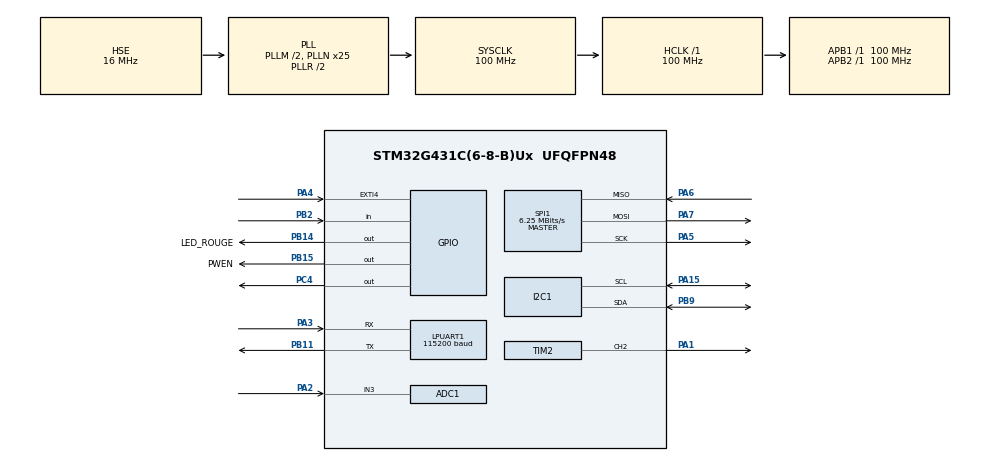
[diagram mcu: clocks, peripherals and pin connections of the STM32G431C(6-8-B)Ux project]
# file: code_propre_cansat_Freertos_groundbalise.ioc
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ADC1.Channel-0\#ChannelRegularConversion=ADC_CHANNEL_VREFINT
ADC1.Channel-1\#ChannelRegularConversion=ADC_CHANNEL_TEMPSENSOR_ADC1
ADC1.Channel-2\#ChannelRegularConversion=ADC_CHANNEL_3
ADC1.ContinuousConvMode=ENABLE
ADC1.EOCSelection=ADC_EOC_SEQ_CONV
ADC1.NbrOfConversion=3
ADC1.NbrOfConversionFlag=1
ADC1.OffsetNumber-0\#ChannelRegularConversion=ADC_OFFSET_NONE
ADC1.OffsetNumber-1\#ChannelRegularConversion=ADC_OFFSET_NONE
ADC1.OffsetNumber-2\#ChannelRegularConversion=ADC_OFFSET_NONE
ADC1.Rank-0\#ChannelRegularConversion=1
ADC1.Rank-1\#ChannelRegularConversion=2
ADC1.Rank-2\#ChannelRegularConversion=3
ADC1.SamplingTime-0\#ChannelRegularConversion=ADC_SAMPLETIME_640CYCLES_5
ADC1.SamplingTime-1\#ChannelRegularConversion=ADC_SAMPLETIME_640CYCLES_5
ADC1.SamplingTime-2\#ChannelRegularConversion=ADC_SAMPLETIME_640CYCLES_5
ADC1.master=1
Dma.ADC1.0.Direction=DMA_PERIPH_TO_MEMORY
Dma.ADC1.0.EventEnable=DISABLE
Dma.ADC1.0.Instance=DMA1_Channel2
Dma.ADC1.0.MemDataAlignment=DMA_MDATAALIGN_HALFWORD
Dma.ADC1.0.MemInc=DMA_MINC_ENABLE
Dma.ADC1.0.Mode=DMA_CIRCULAR
Dma.ADC1.0.PeriphDataAlignment=DMA_PDATAALIGN_HALFWORD
Dma.ADC1.0.PeriphInc=DMA_PINC_DISABLE
Dma.ADC1.0.Polarity=HAL_DMAMUX_REQ_GEN_RISING
Dma.ADC1.0.Priority=DMA_PRIORITY_LOW
Dma.ADC1.0.RequestNumber=1
Dma.ADC1.0.SignalID=NONE
Dma.ADC1.0.SyncEnable=DISABLE
Dma.ADC1.0.SyncPolarity=HAL_DMAMUX_SYNC_NO_EVENT
Dma.ADC1.0.SyncRequestNumber=1
Dma.ADC1.0.SyncSignalID=NONE
Dma.LPUART1_RX.1.Direction=DMA_PERIPH_TO_MEMORY
Dma.LPUART1_RX.1.EventEnable=DISABLE
Dma.LPUART1_RX.1.Instance=DMA1_Channel3
Dma.LPUART1_RX.1.MemDataAlignment=DMA_MDATAALIGN_BYTE
Dma.LPUART1_RX.1.MemInc=DMA_MINC_ENABLE
Dma.LPUART1_RX.1.Mode=DMA_CIRCULAR
Dma.LPUART1_RX.1.PeriphDataAlignment=DMA_PDATAALIGN_BYTE
Dma.LPUART1_RX.1.PeriphInc=DMA_PINC_DISABLE
Dma.LPUART1_RX.1.Polarity=HAL_DMAMUX_REQ_GEN_RISING
Dma.LPUART1_RX.1.Priority=DMA_PRIORITY_LOW
Dma.LPUART1_RX.1.RequestNumber=1
Dma.LPUART1_RX.1.SignalID=NONE
Dma.LPUART1_RX.1.SyncEnable=DISABLE
Dma.LPUART1_RX.1.SyncPolarity=HAL_DMAMUX_SYNC_NO_EVENT
Dma.LPUART1_RX.1.SyncRequestNumber=1
Dma.LPUART1_RX.1.SyncSignalID=NONE
Dma.Request0=ADC1
Dma.Request1=LPUART1_RX
Dma.Request2=TIM2_CH2
Dma.TIM2_CH2.2.Direction=DMA_MEMORY_TO_PERIPH
Dma.TIM2_CH2.2.EventEnable=DISABLE
Dma.TIM2_CH2.2.Instance=DMA1_Channel1
Dma.TIM2_CH2.2.MemDataAlignment=DMA_MDATAALIGN_BYTE
Dma.TIM2_CH2.2.MemInc=DMA_MINC_ENABLE
Dma.TIM2_CH2.2.Mode=DMA_CIRCULAR
Dma.TIM2_CH2.2.PeriphDataAlignment=DMA_PDATAALIGN_WORD
Dma.TIM2_CH2.2.PeriphInc=DMA_PINC_DISABLE
Dma.TIM2_CH2.2.Polarity=HAL_DMAMUX_REQ_GEN_RISING
Dma.TIM2_CH2.2.Priority=DMA_PRIORITY_LOW
Dma.TIM2_CH2.2.RequestNumber=1
Dma.TIM2_CH2.2.SignalID=NONE
Dma.TIM2_CH2.2.SyncEnable=DISABLE
Dma.TIM2_CH2.2.SyncPolarity=HAL_DMAMUX_SYNC_NO_EVENT
Dma.TIM2_CH2.2.SyncRequestNumber=1
Dma.TIM2_CH2.2.SyncSignalID=NONE
FATFS._MAX_SS=4096
FATFS._USE_LFN=2
FREERTOS.Tasks01=statemachine,0,256,Startstatemachine,Default,NULL,Dynamic,NULL,NULL;Sdcardwrite,0,256,StartSdcard,Default,NULL,Dynamic,NULL,NULL;distancecalc,0,256,Startdistancecalc,Default,NULL,Dynamic,NULL,NULL;tarvosDecode,2,256,startTarvosDecode,Default,NULL,Dynamic,NULL,NULL
FREERTOS.configTOTAL_HEAP_SIZE=10000
I2C1.Timing=0x20B182BE
LPUART1.BaudRate=115200
Mcu.Family=STM32G4
Mcu.Name=STM32G431C(6-8-B)Ux
Mcu.Package=UFQFPN48
NVIC.ADC1_2_IRQn=true\:5\:0\:false\:false\:true\:true\:true\:true\:true
NVIC.DMA1_Channel1_IRQn=true\:5\:0\:false\:false\:true\:true\:false\:true\:true
NVIC.DMA1_Channel2_IRQn=true\:5\:0\:false\:false\:true\:true\:false\:true\:true
NVIC.DMA1_Channel3_IRQn=true\:5\:0\:false\:false\:true\:true\:false\:true\:true
NVIC.EXTI4_IRQn=true\:5\:0\:false\:false\:true\:true\:true\:true\:true
NVIC.LPUART1_IRQn=true\:5\:0\:false\:false\:true\:true\:true\:true\:true
NVIC.PriorityGroup=NVIC_PRIORITYGROUP_4
NVIC.TIM1_UP_TIM16_IRQn=true\:15\:0\:false\:false\:true\:false\:false\:true\:true
NVIC.TIM4_IRQn=true\:6\:0\:true\:false\:true\:true\:true\:true\:true
NVIC.TimeBase=TIM1_UP_TIM16_IRQn
NVIC.TimeBaseIP=TIM1
PA1.Signal=S_TIM2_CH2
PA13.Mode=Trace_Asynchronous_SW
PA13.Signal=SYS_JTMS-SWDIO
PA14.Mode=Trace_Asynchronous_SW
PA14.Signal=SYS_JTCK-SWCLK
PA15.Mode=I2C
PA15.Signal=I2C1_SCL
PA2.Mode=IN3-Single-Ended
PA2.Signal=ADC1_IN3
PA3.Mode=Asynchronous
PA3.Signal=LPUART1_RX
PA4.GPIO_ModeDefaultEXTI=GPIO_MODE_IT_RISING_FALLING
PA4.Signal=GPXTI4
PA5.GPIO_PuPd=GPIO_PULLUP
PA5.Mode=Full_Duplex_Master
PA5.Signal=SPI1_SCK
PA6.GPIO_PuPd=GPIO_PULLUP
PA6.Mode=Full_Duplex_Master
PA6.Signal=SPI1_MISO
PA7.GPIO_PuPd=GPIO_PULLUP
PA7.Mode=Full_Duplex_Master
PA7.Signal=SPI1_MOSI
PB11.Mode=Asynchronous
PB11.Signal=LPUART1_TX
PB14.GPIO_Label=LED_ROUGE
PB14.Signal=GPIO_Output
PB15.GPIO_Label=PWEN
PB15.Signal=GPIO_Output
PB2.Signal=GPIO_Input
PB3.Mode=Trace_Asynchronous_SW
PB3.Signal=SYS_JTDO-SWO
PB6.Signal=USART1_TX
PB7.Signal=USART1_RX
PB9.Mode=I2C
PB9.Signal=I2C1_SDA
PC4.Signal=GPIO_Output
PC6.Signal=S_TIM3_CH1
PF0-OSC_IN.Mode=HSE-External-Oscillator
PF0-OSC_IN.Signal=RCC_OSC_IN
PF1-OSC_OUT.Mode=HSE-External-Oscillator
PF1-OSC_OUT.Signal=RCC_OSC_OUT
ProjectManager.HeapSize=0x200
ProjectManager.StackSize=0x400
ProjectManager.TargetToolchain=STM32CubeIDE
RCC.ADC12Freq_Value=100000000
RCC.AHBFreq_Value=100000000
RCC.APB1Freq_Value=100000000
RCC.APB1TimFreq_Value=100000000
RCC.APB2Freq_Value=100000000
RCC.APB2TimFreq_Value=100000000
RCC.CortexFreq_Value=100000000
RCC.EXTERNAL_CLOCK_VALUE=12288000
RCC.HCLKFreq_Value=100000000
RCC.HSE_VALUE=16000000
RCC.HSI48_VALUE=48000000
RCC.HSI_VALUE=16000000
RCC.LSE_VALUE=32768
RCC.PLLM=RCC_PLLM_DIV2
RCC.PLLN=25
RCC.PLLSourceVirtual=RCC_PLLSOURCE_HSE
RCC.SYSCLKFreq_VALUE=100000000
RCC.SYSCLKSource=RCC_SYSCLKSOURCE_PLLCLK
RCC.USBFreq_Value=100000000
RCC.VCOOutputFreq_Value=200000000
SH.S_TIM2_CH2.0=TIM2_CH2,PWM Generation2 CH2
SH.S_TIM3_CH1.0=TIM3_CH1
SPI1.BaudRatePrescaler=SPI_BAUDRATEPRESCALER_16
SPI1.CalculateBaudRate=6.25 MBits/s
SPI1.DataSize=SPI_DATASIZE_8BIT
SPI1.Direction=SPI_DIRECTION_2LINES
SPI1.Mode=SPI_MODE_MASTER
SPI1.VirtualType=VM_MASTER
TIM2.Channel-PWM\ Generation2\ CH2=TIM_CHANNEL_2
TIM2.PeriodNoDither=125-1
TIM2.Prescaler=0
TIM4.PeriodNoDither=10-1
TIM4.Prescaler=10000-1
VP_ADC1_TempSens_Input.Mode=IN-TempSens
VP_ADC1_Vref_Input.Mode=IN-Vrefint
VP_FATFS_VS_Generic.Mode=User_defined
VP_FREERTOS_VS_CMSIS_V1.Mode=CMSIS_V1
VP_SYS_VS_DBSignals.Mode=DisableDeadBatterySignals
VP_SYS_VS_tim1.Mode=TIM1
VP_TIM2_VS_ClockSourceINT.Mode=Internal
VP_TIM4_VS_ClockSourceINT.Mode=Internal
board=custom

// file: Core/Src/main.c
/* USER CODE BEGIN Header */
/**
  ******************************************************************************
  * @file           : main.c
  * @brief          : Main program body
  ******************************************************************************
  * @attention
  *
  * Copyright (c) 2025 STMicroelectronics.
  * All rights reserved.
  *
  * This software is licensed under terms that can be found in the LICENSE file
  * in the root directory of this software component.
  * If no LICENSE file comes with this software, it is provided AS-IS.
  *
  ******************************************************************************
  */
/* USER CODE END Header */
#include "main.h"
#include "cmsis_os.h"
#include "adc.h"
#include "dma.h"
#include "app_fatfs.h"
#include "i2c.h"
#include "usart.h"
#include "spi.h"
#include "tim.h"
#include "gpio.h"

/* USER CODE BEGIN Includes */
#include "tarvos.h"
#include "led.h"
#include "statemachine.h"
#include "math.h"
/* USER CODE END Includes */

/* USER CODE BEGIN PV */
int tbtn1=0;

uint16_t rawADCdata[3];
float temp=0;
float vrefint=0;
float vbat=0;

uint8_t tarvos_TX_Buffer[TarvosTxBufferSize];
uint8_t tarvos_DATA[64];
uint8_t tarvos_RX_Buffer[TarvosRxBufferSize];

uint8_t sdcardbuffer[256];

FATFS fs;
FATFS *pfs;
FIL fil;
FRESULT fres;
DWORD fre_clust;
uint32_t total, free1;

DecodedPayload OTHERData;

uint8_t LEDDMABUF[DMABUFLEN];
uint8_t DMA_COMPLETE_FLAG=0;

int gros_btn_time=0;

STATE state=IDLE;

int flag_drop = 0;
int flag_separation = 0;
int flag_calib=0;
int sd_detect_flag=0;

int pbmseeker=0;

int received_flag=0;

int trameready=0;

/* USER CODE END PV */

void SystemClock_Config(void);
void MX_FREERTOS_Init(void);

/* USER CODE BEGIN 0 */
void HAL_GPIO_EXTI_Callback(uint16_t GPIO_Pin)//lors d'un appuie sur un bouton, le systeme s'interrompt afin d'arriver dans cette fonction redefinie avec en parametre d'entre , le bouton sur lequel l'on a appuiyé
{
	if(GPIO_Pin==GPIO_PIN_4){
		if(HAL_GPIO_ReadPin(GPIOA,GPIO_PIN_4)== GPIO_PIN_SET){

						gros_btn_time=0;
						tbtn1=HAL_GetTick();

					}
					else{

						gros_btn_time=(HAL_GetTick()-tbtn1);

		if(gros_btn_time<=380){

							}
					if(gros_btn_time>=400 && gros_btn_time<=2000){

					}
					if(gros_btn_time>=2500 && gros_btn_time<=3500){

										}
					if(gros_btn_time>=4000){
											HAL_GPIO_TogglePin(PWEN_GPIO_Port,PWEN_Pin);
											gros_btn_time=0;

															}

					gros_btn_time=0;
					}

	}

//	if(GPIO_Pin==GPIO_PIN_0){
//		flag_drop=1;
//
//		}

	}
void HAL_TIM_PWM_PulseFinishedCallback(TIM_HandleTypeDef *htim){

	LED_Callback();
}
/* USER CODE END 0 */

int main(void)
{

  /* MCU Configuration--------------------------------------------------------*/

  /* Reset of all peripherals, Initializes the Flash interface and the Systick. */
  HAL_Init();

  /* Configure the system clock */
  SystemClock_Config();

  /* Initialize all configured peripherals */
  MX_GPIO_Init();
  MX_DMA_Init();
  MX_ADC1_Init();
  MX_I2C1_Init();
  MX_LPUART1_UART_Init();
  MX_TIM2_Init();
  MX_SPI1_Init();
  if (MX_FATFS_Init() != APP_OK) {
    Error_Handler();
  }
  MX_TIM4_Init();
  /* USER CODE BEGIN 2 */

  HAL_GPIO_WritePin(PWEN_GPIO_Port,PWEN_Pin,GPIO_PIN_SET);
  HAL_GPIO_WritePin(LED_ROUGE_GPIO_Port,LED_ROUGE_Pin,GPIO_PIN_SET);

  if(HAL_ADC_Start_DMA(&hadc1,(uint16_t*)rawADCdata, 3)!=HAL_OK){

 	 pbmseeker=1;

   }

  if(  LED_Init()!=HAL_OK){

 	 pbmseeker=1;

   }
  //mon adresse est 1° et on envoit à 2°
  if( INIT_PERM_TARVOS(GROUND_ADDR, GROUND_ADDR)!=HAL_OK){

 	 pbmseeker=1;

   }

  HAL_Delay(100);
  HAL_UART_Abort(&hlpuart1);
  if(HAL_UART_Receive_DMA(&hlpuart1, (uint8_t *)tarvos_RX_Buffer,5)!=HAL_OK){

 	pbmseeker=1;

   }
  lcd_Init();
  	  setCursor(0,0);
  	  lcd_send_string("test1");
  	  HAL_Delay(1000);
  	  setCursor(0,1);
  	  lcd_send_string("test2");
  if(pbmseeker==0){

  }
  if(pbmseeker==1){

  }
  int r=0;
  int g=0;
  int b=0;
  int t=0;

  /* USER CODE END 2 */

  /* Call init function for freertos objects (in cmsis_os2.c) */
  MX_FREERTOS_Init();

  /* Start scheduler */
  osKernelStart();

  /* We should never get here as control is now taken by the scheduler */

  /* Infinite loop */
  /* USER CODE BEGIN WHILE */
  while (1)
  {

	  LED_Setcolour(r, g, b,r, g, b);
	  r=floor(abs(255*cosf((2*M_PI/255)*t)));
	  g=floor(abs(255*cosf((2*M_PI/255)*t+(180/M_PI))));
	  b=floor(abs(255*cosf((2*M_PI/255)*t+(270/M_PI))));

	  if(t>=255){
		  t=0;
	  }
	  t++;

	  LED_Update();

    /* USER CODE END WHILE */

  }
}

void SystemClock_Config(void)
{
  RCC_OscInitTypeDef RCC_OscInitStruct = {0};
  RCC_ClkInitTypeDef RCC_ClkInitStruct = {0};

  /** Configure the main internal regulator output voltage
  */
  HAL_PWREx_ControlVoltageScaling(PWR_REGULATOR_VOLTAGE_SCALE1);

  /** Initializes the RCC Oscillators according to the specified parameters
  * in the RCC_OscInitTypeDef structure.
  */
  RCC_OscInitStruct.OscillatorType = RCC_OSCILLATORTYPE_HSE;
  RCC_OscInitStruct.HSEState = RCC_HSE_ON;
  RCC_OscInitStruct.PLL.PLLState = RCC_PLL_ON;
  RCC_OscInitStruct.PLL.PLLSource = RCC_PLLSOURCE_HSE;
  RCC_OscInitStruct.PLL.PLLM = RCC_PLLM_DIV2;
  RCC_OscInitStruct.PLL.PLLN = 25;
  RCC_OscInitStruct.PLL.PLLP = RCC_PLLP_DIV2;
  RCC_OscInitStruct.PLL.PLLQ = RCC_PLLQ_DIV2;
  RCC_OscInitStruct.PLL.PLLR = RCC_PLLR_DIV2;
  if (HAL_RCC_OscConfig(&RCC_OscInitStruct) != HAL_OK)
  {
    Error_Handler();
  }

  /** Initializes the CPU, AHB and APB buses clocks
  */
  RCC_ClkInitStruct.ClockType = RCC_CLOCKTYPE_HCLK|RCC_CLOCKTYPE_SYSCLK
                              |RCC_CLOCKTYPE_PCLK1|RCC_CLOCKTYPE_PCLK2;
  RCC_ClkInitStruct.SYSCLKSource = RCC_SYSCLKSOURCE_PLLCLK;
  RCC_ClkInitStruct.AHBCLKDivider = RCC_SYSCLK_DIV1;
  RCC_ClkInitStruct.APB1CLKDivider = RCC_HCLK_DIV1;
  RCC_ClkInitStruct.APB2CLKDivider = RCC_HCLK_DIV1;

  if (HAL_RCC_ClockConfig(&RCC_ClkInitStruct, FLASH_LATENCY_3) != HAL_OK)
  {
    Error_Handler();
  }
}

void HAL_TIM_PeriodElapsedCallback(TIM_HandleTypeDef *htim)
{
  if (htim->Instance == TIM1)
  {
    HAL_IncTick();
  }
}

void Error_Handler(void)
{
  __disable_irq();
  while (1)
  {
  }
}

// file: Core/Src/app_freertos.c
/* USER CODE BEGIN Header */
/**
  ******************************************************************************
  * File Name          : app_freertos.c
  * Description        : Code for freertos applications
  ******************************************************************************
  * @attention
  *
  * Copyright (c) 2025 STMicroelectronics.
  * All rights reserved.
  *
  * This software is licensed under terms that can be found in the LICENSE file
  * in the root directory of this software component.
  * If no LICENSE file comes with this software, it is provided AS-IS.
  *
  ******************************************************************************
  */
/* USER CODE END Header */

#include "FreeRTOS.h"
#include "task.h"
#include "main.h"
#include "cmsis_os.h"

/* USER CODE BEGIN Includes */
#include "tarvos.h"
#include "led.h"
#include "statemachine.h"
#include "math.h"
#include "usart.h"
#include "lcd1602.h"
/* USER CODE END Includes */

/* USER CODE BEGIN Variables */

extern uint16_t rawADCdata[3];
extern float temp;
extern float vrefint;
extern float vbat;

extern uint8_t tarvos_TX_Buffer[TarvosTxBufferSize];
extern uint8_t tarvos_DATA[64];
extern uint8_t tarvos_RX_Buffer[TarvosRxBufferSize];
extern uint8_t sdcardbuffer[256];

extern uint8_t LEDDMABUF[DMABUFLEN];
extern uint8_t DMA_COMPLETE_FLAG;

extern STATE state;

extern int flag_drop;
extern int flag_separation;
extern int sd_detect_flag;
extern int pbmseeker;

extern int trameready;

extern int received_flag;
extern DecodedPayload OTHERData;

/* USER CODE END Variables */
osThreadId statemachineHandle;
osThreadId SdcardwriteHandle;
osThreadId distancecalcHandle;
osThreadId tarvosDecodeHandle;

void Startstatemachine(void const * argument);
void StartSdcard(void const * argument);
void Startdistancecalc(void const * argument);
void startTarvosDecode(void const * argument);

void MX_FREERTOS_Init(void); /* (MISRA C 2004 rule 8.1) */

void MX_FREERTOS_Init(void) {

  /* Create the thread(s) */
  /* definition and creation of statemachine */
  osThreadDef(statemachine, Startstatemachine, osPriorityNormal, 0, 256);
  statemachineHandle = osThreadCreate(osThread(statemachine), NULL);

  /* definition and creation of Sdcardwrite */
  osThreadDef(Sdcardwrite, StartSdcard, osPriorityNormal, 0, 256);
  SdcardwriteHandle = osThreadCreate(osThread(Sdcardwrite), NULL);

  /* definition and creation of distancecalc */
  osThreadDef(distancecalc, Startdistancecalc, osPriorityNormal, 0, 256);
  distancecalcHandle = osThreadCreate(osThread(distancecalc), NULL);

  /* definition and creation of tarvosDecode */
  osThreadDef(tarvosDecode, startTarvosDecode, osPriorityHigh, 0, 256);
  tarvosDecodeHandle = osThreadCreate(osThread(tarvosDecode), NULL);

}

void Startstatemachine(void const * argument)
{
  /* USER CODE BEGIN Startstatemachine */
  /* Infinite loop */
  for(;;)
  {
	  statemachine();

	  create_and_send_payload((uint8_t*) tarvos_TX_Buffer,CHANNEL,SAT_ADDR,0x29,0,0,0.0,0.0,0.0,0.0,0.0,0.0,0);

    osDelay(1000);
  }
  /* USER CODE END Startstatemachine */
}

void StartSdcard(void const * argument)
{
  /* USER CODE BEGIN StartSdcard */
  /* Infinite loop */
  for(;;)
  {

	  if(HAL_GPIO_ReadPin(GPIOB,GPIO_PIN_2)==GPIO_PIN_RESET){
		  sd_detect_flag=1;

	  }
	  else{sd_detect_flag=0;}

    osDelay(100);
  }
  /* USER CODE END StartSdcard */
}

void Startdistancecalc(void const * argument)
{
  /* USER CODE BEGIN Startdistancecalc */
  /* Infinite loop */
  for(;;)
  {

    osDelay(100);
  }
  /* USER CODE END Startdistancecalc */
}

void startTarvosDecode(void const * argument)
{
  /* USER CODE BEGIN startTarvosDecode */
  /* Infinite loop */
  for(;;)
  {

	  if(trameready==1){

		  switch(tarvos_DATA[3]){
		  case BOTTOM_ADDR:
			  decode_payload(&OTHERData,(uint8_t *) tarvos_DATA);
			  break;
		  default:

			  break;
		  }
		  trameready=0;
	  }

    osDelay(100);
  }
  /* USER CODE END startTarvosDecode */
}
